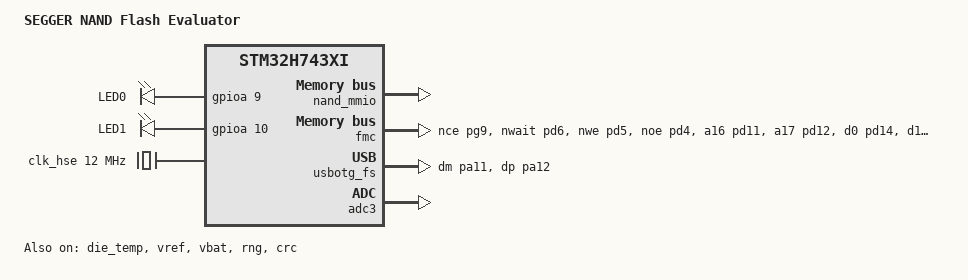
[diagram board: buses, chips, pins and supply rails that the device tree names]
/*
 * SPDX-FileCopyrightText: Copyright The Zephyr Project Contributors
 * SPDX-License-Identifier: Apache-2.0
 */

/dts-v1/;
#include <st/h7/stm32h743Xi.dtsi>
#include <st/h7/stm32h743zitx-pinctrl.dtsi>

/ {
	model = "SEGGER NAND Flash Evaluator";
	compatible = "segger,nandeval-h743zi";

	chosen {
		zephyr,sram = &sram0;
		zephyr,flash = &flash0;
		zephyr,dtcm = &dtcm;
	};

	leds: leds {
		compatible = "gpio-leds";

		red_led: led_0 {
			gpios = <&gpioa 9 GPIO_ACTIVE_HIGH>;
			label = "LED0";
		};

		green_led: led_1 {
			gpios = <&gpioa 10 GPIO_ACTIVE_HIGH>;
			label = "LED1";
		};
	};

	nand_mmio: memory@80000000 {
		compatible = "zephyr,memory-region";
		reg = <0x80000000 DT_SIZE_M(256)>;
		zephyr,memory-region = "NAND_MMIO";
		zephyr,memory-attr = <DT_MEM_ARM(ATTR_MPU_IO)>;
	};

	aliases {
		led0 = &red_led;
		led1 = &green_led;
		die-temp0 = &die_temp;
		volt-sensor0 = &vref;
		volt-sensor1 = &vbat;
	};
};

&fmc {
	pinctrl-0 = <&fmc_nce_pg9 &fmc_nwait_pd6 &fmc_nwe_pd5 &fmc_noe_pd4
		     &fmc_a16_pd11 /* cle */
		     &fmc_a17_pd12 /* ale */
		     &fmc_d0_pd14 &fmc_d1_pd15 &fmc_d2_pd0 &fmc_d3_pd1
		     &fmc_d4_pe7 &fmc_d5_pe8 &fmc_d6_pe9 &fmc_d7_pe10
		     &fmc_d8_pe11 &fmc_d9_pe12 &fmc_d10_pe13 &fmc_d11_pe14
		     &fmc_d12_pe15 &fmc_d13_pd8 &fmc_d14_pd9 &fmc_d15_pd10>;
	pinctrl-names = "default";
	status = "okay";
};

zephyr_udc0: &usbotg_fs {
	pinctrl-0 = <&usb_otg_fs_dm_pa11 &usb_otg_fs_dp_pa12>;
	pinctrl-names = "default";
	status = "okay";
};

&clk_lsi {
	status = "okay";
};

&clk_hsi48 {
	status = "okay";
};

&clk_hse {
	clock-frequency = <DT_FREQ_M(12)>;
	status = "okay";
};

&pll {
	div-m = <2>;
	mul-n = <160>;
	div-p = <2>;
	div-q = <2>;
	div-r = <2>;
	clocks = <&clk_hse>;
	status = "okay";
};

&rcc {
	clocks = <&pll>;
	clock-frequency = <DT_FREQ_M(480)>;
	d1cpre = <1>;
	hpre = <2>;
	d1ppre = <2>;
	d2ppre1 = <2>;
	d2ppre2 = <2>;
	d3ppre = <2>;
};

&pwr {
	power-supply = "ldo";
};

&adc3 {
	st,adc-clock-source = "SYNC";
	st,adc-prescaler = <4>;
	status = "okay";
};

&die_temp {
	status = "okay";
};

&vref {
	status = "okay";
};

&vbat {
	status = "okay";
};

&rng {
	status = "okay";
};

&crc {
	status = "okay";
};

&backup_sram {
	status = "okay";
};
